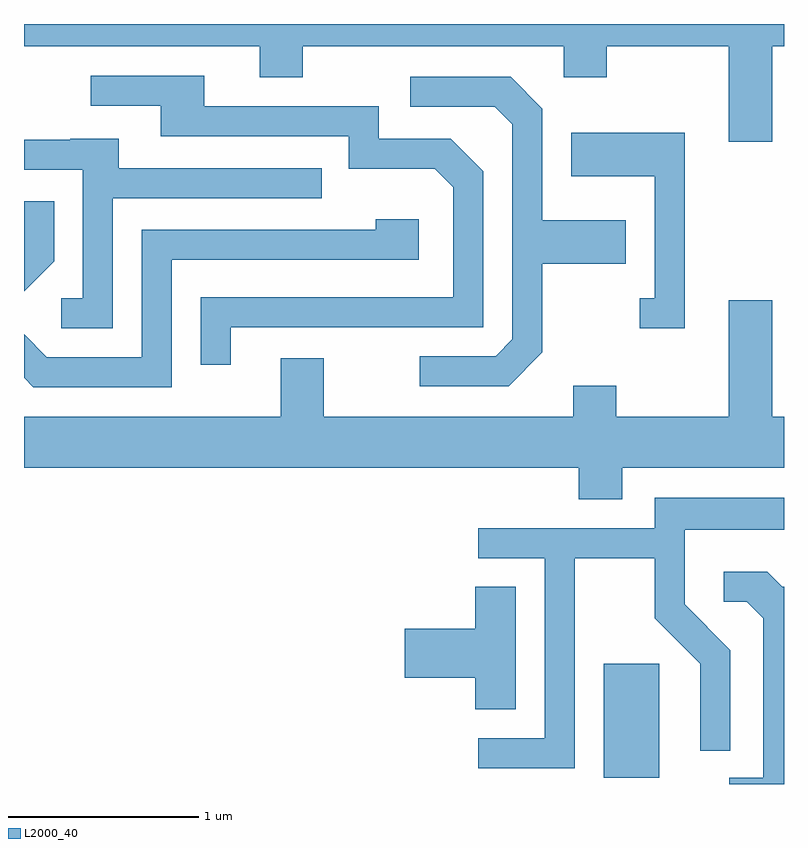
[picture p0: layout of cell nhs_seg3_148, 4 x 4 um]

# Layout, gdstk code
import gdstk
lib = gdstk.Library(unit=1e-6, precision=1e-09)
def R(c, l, rs):  # rectangles x0, y0, x1, y1
    for r in rs: c.add(gdstk.rectangle(r[:2], r[2:], *l))
def P(c, l, *ps):  # polygons
    for p in ps: c.add(gdstk.Polygon(p, *l))
L2000_40 = (2000, 40)

nhs_seg3_148 = lib.new_cell('nhs_seg3_148')
R(nhs_seg3_148, L2000_40, [(192.661,1139.926,192.954,1140.524)])
P(nhs_seg3_148, L2000_40, [(193.549,1143.776),(193.611,1143.776),(193.611,1143.892),(189.611,1143.892),(189.611,1143.776),(190.851,1143.776),(190.851,1143.611),(191.079,1143.611),(191.079,1143.776),(192.451,1143.776),(192.451,1143.611),(192.679,1143.611),(192.679,1143.776),(193.321,1143.776),(193.321,1143.271),(193.549,1143.271)],
  [(190.699,1142.296),(192.029,1142.296),(192.029,1143.117),(191.857,1143.289),(191.479,1143.289),(191.479,1143.459),(190.559,1143.459),(190.559,1143.619),(189.963,1143.619),(189.963,1143.461),(190.331,1143.461),(190.331,1143.301),(191.321,1143.301),(191.321,1143.131),(191.774,1143.131),(191.871,1143.034),(191.871,1142.454),(190.541,1142.454),(190.541,1142.098),(190.699,1142.098)],
  [(192.339,1142.164),(192.339,1142.631),(192.779,1142.631),(192.779,1142.859),(192.339,1142.859),(192.339,1143.447),(192.172,1143.614),(191.643,1143.614),(191.643,1143.456),(192.089,1143.456),(192.181,1143.364),(192.181,1142.232),(192.094,1142.144),(191.693,1142.144),(191.693,1141.986),(192.162,1141.986)],
  [(193.089,1143.319),(192.491,1143.319),(192.491,1143.091),(192.931,1143.091),(192.931,1142.449),(192.853,1142.449),(192.853,1142.291),(193.089,1142.291)],
  [(190.079,1142.976),(191.178,1142.976),(191.178,1143.134),(190.109,1143.134),(190.109,1143.289),(189.855,1143.289),(189.855,1143.284),(189.611,1143.284),(189.611,1143.126),(189.921,1143.126),(189.921,1142.449),(189.808,1142.449),(189.808,1142.291),(190.079,1142.291)],
  [(189.769,1142.644),(189.769,1142.958),(189.611,1142.958),(189.611,1142.485)],
  [(190.389,1142.651),(191.689,1142.651),(191.689,1142.864),(191.461,1142.864),(191.461,1142.809),(190.231,1142.809),(190.231,1142.139),(189.732,1142.139),(189.611,1142.26),(189.611,1142.029),(189.659,1141.981),(190.389,1141.981)],
  [(192.759,1141.556),(193.611,1141.556),(193.611,1141.824),(193.549,1141.824),(193.549,1142.439),(193.321,1142.439),(193.321,1141.824),(192.729,1141.824),(192.729,1141.989),(192.501,1141.989),(192.501,1141.824),(191.189,1141.824),(191.189,1142.134),(190.961,1142.134),(190.961,1141.824),(189.611,1141.824),(189.611,1141.556),(192.531,1141.556),(192.531,1141.391),(192.759,1141.391)],
  [(192.509,1141.081),(192.931,1141.081),(192.931,1140.764),(193.171,1140.524),(193.171,1140.068),(193.329,1140.068),(193.329,1140.597),(193.089,1140.837),(193.089,1141.231),(193.611,1141.231),(193.611,1141.399),(192.931,1141.399),(192.931,1141.239),(192.003,1141.239),(192.003,1141.081),(192.351,1141.081),(192.351,1140.134),(192.003,1140.134),(192.003,1139.976),(192.509,1139.976)],
  [(193.611,1140.929),(193.602,1140.929),(193.522,1141.009),(193.293,1141.009),(193.293,1140.851),(193.414,1140.851),(193.501,1140.764),(193.501,1139.924),(193.323,1139.924),(193.323,1139.892),(193.611,1139.892)],
  [(192.199,1140.929),(191.986,1140.929),(191.986,1140.709),(191.616,1140.709),(191.616,1140.451),(191.986,1140.451),(191.986,1140.286),(192.199,1140.286)])

lib.write_gds('nhs_seg3_148.gds')
